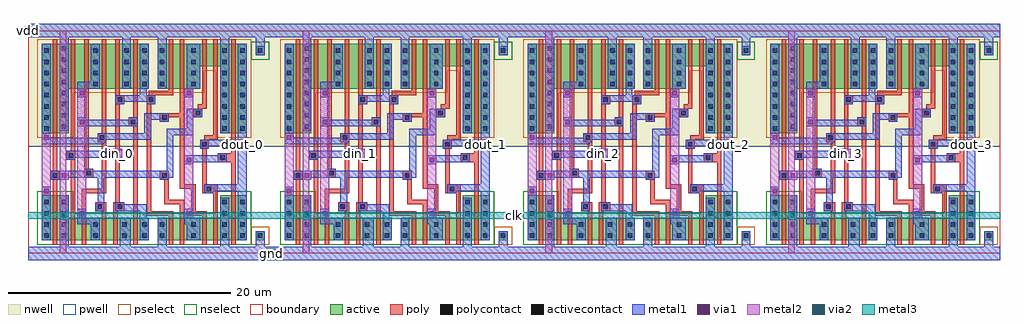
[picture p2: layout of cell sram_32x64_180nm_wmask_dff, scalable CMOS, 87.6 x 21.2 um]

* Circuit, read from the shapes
.subckt sram_32x64_180nm_wmask_dff clk din_0 din_1 din_2 din_3 dout_0 dout_1 dout_2 dout_3 gnd vdd
M1 gnd clk n1 gnd nfet w=4u l=0.4u
M2 n2 din_0 gnd gnd nfet w=2u l=0.4u
M3 n3 n1 n2 gnd nfet w=2u l=0.4u
M4 n4 clk n3 gnd nfet w=2u l=0.4u
M5 gnd n5 n4 gnd nfet w=2u l=0.4u
M6 n5 n3 gnd gnd nfet w=2u l=0.4u
M7 n6 n5 gnd gnd nfet w=2u l=0.4u
M8 n7 clk n6 gnd nfet w=2u l=0.4u
M9 n8 n1 n7 gnd nfet w=2u l=0.4u
M10 gnd dout_0 n8 gnd nfet w=2u l=0.4u
M11 dout_0 n7 gnd gnd nfet w=4u l=0.4u
M12 gnd clk n9 gnd nfet w=4u l=0.4u
M13 n10 din_1 gnd gnd nfet w=2u l=0.4u
M14 n11 n9 n10 gnd nfet w=2u l=0.4u
M15 n12 clk n11 gnd nfet w=2u l=0.4u
M16 gnd n13 n12 gnd nfet w=2u l=0.4u
M17 n13 n11 gnd gnd nfet w=2u l=0.4u
M18 n14 n13 gnd gnd nfet w=2u l=0.4u
M19 n15 clk n14 gnd nfet w=2u l=0.4u
M20 n16 n9 n15 gnd nfet w=2u l=0.4u
M21 gnd dout_1 n16 gnd nfet w=2u l=0.4u
M22 dout_1 n15 gnd gnd nfet w=4u l=0.4u
M23 gnd clk n17 gnd nfet w=4u l=0.4u
M24 n18 din_2 gnd gnd nfet w=2u l=0.4u
M25 n19 n17 n18 gnd nfet w=2u l=0.4u
M26 n20 clk n19 gnd nfet w=2u l=0.4u
M27 gnd n21 n20 gnd nfet w=2u l=0.4u
M28 n21 n19 gnd gnd nfet w=2u l=0.4u
M29 n22 n21 gnd gnd nfet w=2u l=0.4u
M30 n23 clk n22 gnd nfet w=2u l=0.4u
M31 n24 n17 n23 gnd nfet w=2u l=0.4u
M32 gnd dout_2 n24 gnd nfet w=2u l=0.4u
M33 dout_2 n23 gnd gnd nfet w=4u l=0.4u
M34 gnd clk n25 gnd nfet w=4u l=0.4u
M35 n26 din_3 gnd gnd nfet w=2u l=0.4u
M36 n27 n25 n26 gnd nfet w=2u l=0.4u
M37 n28 clk n27 gnd nfet w=2u l=0.4u
M38 gnd n29 n28 gnd nfet w=2u l=0.4u
M39 n29 n27 gnd gnd nfet w=2u l=0.4u
M40 n30 n29 gnd gnd nfet w=2u l=0.4u
M41 n31 clk n30 gnd nfet w=2u l=0.4u
M42 n32 n25 n31 gnd nfet w=2u l=0.4u
M43 gnd dout_3 n32 gnd nfet w=2u l=0.4u
M44 dout_3 n31 gnd gnd nfet w=4u l=0.4u
M45 vdd clk n1 vdd pfet w=8u l=0.4u
M46 n33 din_0 vdd vdd pfet w=4u l=0.4u
M47 n3 clk n33 vdd pfet w=4u l=0.4u
M48 n34 n1 n3 vdd pfet w=4u l=0.4u
M49 vdd n5 n34 vdd pfet w=4u l=0.4u
M50 n5 n3 vdd vdd pfet w=4u l=0.4u
M51 n35 n5 vdd vdd pfet w=4u l=0.4u
M52 n7 n1 n35 vdd pfet w=4u l=0.4u
M53 n36 clk n7 vdd pfet w=2u l=0.4u
M54 vdd dout_0 n36 vdd pfet w=2u l=0.4u
M55 dout_0 n7 vdd vdd pfet w=8u l=0.4u
M56 vdd clk n9 vdd pfet w=8u l=0.4u
M57 n37 din_1 vdd vdd pfet w=4u l=0.4u
M58 n11 clk n37 vdd pfet w=4u l=0.4u
M59 n38 n9 n11 vdd pfet w=4u l=0.4u
M60 vdd n13 n38 vdd pfet w=4u l=0.4u
M61 n13 n11 vdd vdd pfet w=4u l=0.4u
M62 n39 n13 vdd vdd pfet w=4u l=0.4u
M63 n15 n9 n39 vdd pfet w=4u l=0.4u
M64 n40 clk n15 vdd pfet w=2u l=0.4u
M65 vdd dout_1 n40 vdd pfet w=2u l=0.4u
M66 dout_1 n15 vdd vdd pfet w=8u l=0.4u
M67 vdd clk n17 vdd pfet w=8u l=0.4u
M68 n41 din_2 vdd vdd pfet w=4u l=0.4u
M69 n19 clk n41 vdd pfet w=4u l=0.4u
M70 n42 n17 n19 vdd pfet w=4u l=0.4u
M71 vdd n21 n42 vdd pfet w=4u l=0.4u
M72 n21 n19 vdd vdd pfet w=4u l=0.4u
M73 n43 n21 vdd vdd pfet w=4u l=0.4u
M74 n23 n17 n43 vdd pfet w=4u l=0.4u
M75 n44 clk n23 vdd pfet w=2u l=0.4u
M76 vdd dout_2 n44 vdd pfet w=2u l=0.4u
M77 dout_2 n23 vdd vdd pfet w=8u l=0.4u
M78 vdd clk n25 vdd pfet w=8u l=0.4u
M79 n45 din_3 vdd vdd pfet w=4u l=0.4u
M80 n27 clk n45 vdd pfet w=4u l=0.4u
M81 n46 n25 n27 vdd pfet w=4u l=0.4u
M82 vdd n29 n46 vdd pfet w=4u l=0.4u
M83 n29 n27 vdd vdd pfet w=4u l=0.4u
M84 n47 n29 vdd vdd pfet w=4u l=0.4u
M85 n31 n25 n47 vdd pfet w=4u l=0.4u
M86 n48 clk n31 vdd pfet w=2u l=0.4u
M87 vdd dout_3 n48 vdd pfet w=2u l=0.4u
M88 dout_3 n31 vdd vdd pfet w=8u l=0.4u
.ends

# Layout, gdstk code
import gdstk
lib = gdstk.Library(unit=1e-6, precision=1e-09)
def R(c, l, rs):  # rectangles x0, y0, x1, y1
    for r in rs: c.add(gdstk.rectangle(r[:2], r[2:], *l))
def A(c, l, x, y, w, h, nx, ny, dx, dy):  # array of equal rectangles
    R(c, l, [(x+i*dx, y+j*dy, x+i*dx+w, y+j*dy+h) for i in range(nx) for j in range(ny)])
pwell = (41, 0)
nwell = (42, 0)
active = (43, 0)
pselect = (44, 0)
nselect = (45, 0)
poly = (46, 0)
polycontact = (47, 0)
activecontact = (48, 0)
metal1 = (49, 0)
via1 = (50, 0)
metal2 = (51, 0)
via2 = (61, 0)
metal3 = (62, 0)
boundary = (63, 0)

dff = lib.new_cell('dff')
R(dff, pwell, [(0,-0.6,21.8,9.6)])
R(dff, nwell, [(0,9.6,21.8,20.6)])
R(dff, active, [(1.2,1.2,10.8,3.2), (11.6,1.2,19.6,3.2), (20.4,1.2,21.2,2), (1.2,3.2,3.6,5.2), (17.2,3.2,19.6,5.2), (1.2,10.8,3.6,14.8), (17.2,10.8,19.6,16.8), (1.2,14.8,10.8,18.8), (11.6,14.8,15.4,16.8), (11.6,16.8,19.6,18.8), (20.4,17.8,21.2,18.6)])
R(dff, pselect, [(20,0.8,21.6,2.4), (0.8,10.4,4,14.4), (16.8,10.4,20,16.4), (0.8,14.4,15.8,16.4), (0.8,16.4,20,19.2)])
R(dff, nselect, [(0.8,0.8,20,3.6), (0.8,3.6,4,5.6), (16.8,3.6,20,5.6), (20,17.4,21.6,19)])
R(dff, poly, [(2.2,0.8,2.6,6.6), (3.8,0.8,4.2,8.4), (4.8,0.8,5.2,5.4), (6.6,0.8,7,3.8), (7.6,0.8,8,3.8), (9.4,0.8,9.8,11.4), (12.6,0.8,13,3.4), (13.6,0.8,14,4.4), (15.6,0.8,16,3.4), (16.6,0.8,17,5.4), (18.2,0.8,18.6,8.2), (10.6,3.4,13,3.8), (14.6,3.4,16,3.8), (6,3.8,7,4.6), (7.6,3.8,8.6,4.6), (10.6,3.8,11,13.4), (14.6,3.8,15,5.8), (12.2,4.4,14,4.8), (7.8,4.6,8.2,13.4), (12.2,4.8,12.6,6.6), (4.8,5.4,7,5.8), (15.6,5.4,17,6.2), (6.6,5.8,7,10), (13.6,5.8,15,6.2), (13.6,6.2,14,12.2), (15.6,6.2,16,9.4), (2,6.6,2.8,7.4), (11.8,6.6,12.6,7.4), (5,6.8,5.8,7.6), (2.2,7.4,2.6,19.2), (5,7.6,5.4,19.2), (17,8.2,18.6,9), (3.4,8.4,4.2,9.2), (18.2,9,18.6,19.2), (3.8,9.2,4.2,19.2), (15.4,9.4,16.2,10.2), (6.2,10,7,10.8), (15.8,10.2,17,10.6), (16.6,10.6,17,19.2), (6.6,10.8,7,19.2), (9,11.4,9.8,12.2), (11.8,11.8,12.6,12.2), (9.4,12.2,9.8,19.2), (11.8,12.2,14,12.6), (14.8,12.2,15.6,13), (13.6,12.6,14,19.2), (15.2,13,16,13.4), (7.8,13.4,8.6,14.2), (10.6,13.4,11.4,14.2), (15.6,13.4,16,19.2), (7.8,14.2,8.2,19.2), (10.8,14.2,13,14.6), (12.6,14.6,13,19.2)])
R(dff, polycontact, [(6.2,4,6.6,4.4), (8,4,8.4,4.4), (16,5.6,16.4,6), (2.2,6.8,2.6,7.2), (12,6.8,12.4,7.2), (5.2,7,5.6,7.4), (17.2,8.4,17.6,8.8), (3.6,8.6,4,9), (15.6,9.6,16,10), (6.4,10.2,6.8,10.6), (9.2,11.6,9.6,12), (12,12,12.4,12.4), (15,12.4,15.4,12.8), (8,13.6,8.4,14), (10.8,13.6,11.2,14)])
A(dff, activecontact, 1.4, 1.4, 0.4, 0.4, 1, 4, 0, 1)
A(dff, activecontact, 3, 1.4, 0.4, 0.4, 1, 4, 0, 1)
A(dff, activecontact, 11.8, 1.4, 0.4, 0.4, 3, 2, 2.8, 1)
A(dff, activecontact, 19, 1.4, 0.4, 0.4, 1, 4, 0, 1)
A(dff, activecontact, 1.4, 11, 0.4, 0.4, 1, 8, 0, 1)
A(dff, activecontact, 17.4, 11, 0.4, 0.4, 1, 7, 0, 1)
A(dff, activecontact, 19, 11, 0.4, 0.4, 1, 7, 0, 1)
A(dff, activecontact, 3, 11.2, 0.4, 0.4, 1, 8, 0, 1)
A(dff, activecontact, 5.8, 15, 0.4, 0.4, 1, 4, 0, 1)
A(dff, activecontact, 8.6, 15, 0.4, 0.4, 3, 4, 1.6, 1)
A(dff, activecontact, 14.6, 15, 0.4, 0.4, 1, 4, 0, 1)
A(dff, activecontact, 17.4, 18, 0.4, 0.4, 3, 1, 1.6, 0)
R(dff, activecontact, [(5.8,1.4,6.2,1.8), (8.4,1.4,8.8,1.8), (10.2,1.4,10.6,1.8), (20.6,1.4,21,1.8), (5.8,2.4,6.2,2.8), (8.4,2.4,8.8,2.8), (10.2,2.4,10.6,2.8), (17.4,3.4,17.8,3.8), (17.4,4.4,17.8,4.8)])
R(dff, metal1, [(0,-0.6,21.8,0.6), (0,-0.6,21.8,0.6), (2.8,0.6,3.6,5.2), (8.2,0.6,9.2,3.2), (11.6,0.6,12.4,3.2), (17.2,0.6,18,5), (20.4,0.6,21.2,2), (1.2,1.2,2,6), (5.6,1.2,6.4,2.6), (10,1.2,10.8,3.2), (14.2,1.2,15.4,2.6), (18.8,1.2,19.6,5.6), (4.4,2.6,6.4,3.2), (14,2.6,15.4,3.2), (4.4,3.2,5.2,4), (10,3.2,10.6,3.8), (14,3.2,14.8,4), (6,3.8,6.8,4.6), (7.8,3.8,10.6,4.4), (7.8,4.4,8.6,4.6), (6.2,4.6,6.8,6.8), (15.8,5.4,16.6,5.6), (15.8,5.6,19.6,6.2), (18.8,6.2,19.6,9.6), (2,6.6,3.6,6.8), (11.8,6.6,12.6,6.8), (2,6.8,13,7.4), (5,7.4,5.8,7.6), (12.4,7.4,13,10.6), (14,8,14.8,8.2), (14,8.2,17.8,8.8), (3.4,8.4,4.2,8.6), (3.4,8.6,8.4,9.2), (17,8.8,17.8,9), (7.6,9.2,8.4,9.4), (15.4,9.4,16.2,9.6), (15.4,9.6,19.6,10.2), (1.2,9.8,6.8,10), (1.2,10,7,10.2), (1.2,10.2,11,10.4), (18.8,10.2,19.6,18.8), (1.2,10.4,2,18.8), (6.2,10.4,11,10.8), (12.4,10.6,14.8,11.2), (10.4,10.8,11,12), (17.2,10.8,18,19.4), (2.8,11,3.6,19.4), (14.2,11.2,14.8,12.2), (4.4,11.4,9.8,12), (11.8,11.8,12.6,12), (4.4,12,5.2,12.2), (9,12,9.8,12.2), (10.4,12,12.6,12.6), (14.2,12.2,15.6,13), (7.8,13.4,8.6,13.6), (10.6,13.4,11.4,13.6), (7.8,13.6,11.4,14.2), (4.4,14,5.2,14.8), (14,14,14.8,14.8), (10,14.2,10.6,14.8), (4.4,14.8,6.4,15.4), (8.4,14.8,9.2,19.4), (10,14.8,10.8,18.8), (11.6,14.8,12.4,19.4), (14.2,14.8,15.4,18.8), (5.6,15.4,6.4,18.8), (20.4,17.8,21.2,19.4), (0,19.4,21.8,20.6), (0,19.4,21.8,20.6)])
R(dff, via1, [(4.6,3.4,5,3.8), (14.2,3.4,14.6,3.8), (1.4,5.4,1.8,5.8), (3,6.8,3.4,7.2), (14.2,8.2,14.6,8.6), (7.8,8.8,8.2,9.2), (19,9.6,19.4,10), (1.4,10.2,1.8,10.6), (4.6,11.6,5,12), (4.6,14.2,5,14.6), (14.2,14.2,14.6,14.6)])
R(dff, metal2, [(4.4,3.2,5.2,14.8), (14,3.2,14.8,14.8), (1.2,5.2,2,10.8), (2.8,6.6,3.6,7.4), (2.8,6.6,3.6,7.4), (7.6,8.6,8.4,9.4), (7.6,8.6,8.4,9.4), (18.8,9.4,19.6,10.2), (18.8,9.4,19.6,10.2)])
R(dff, boundary, [(0,0,21.8,20)])
dff.add(gdstk.Label('clk', (3,6.8), layer=51, texttype=0))
dff.add(gdstk.Label('D', (8,9), layer=51, texttype=0))
dff.add(gdstk.Label('Q', (19.2,9.8), layer=51, texttype=0))
dff.add(gdstk.Label('vdd', (6.4,19.6), layer=49, texttype=0))
dff.add(gdstk.Label('gnd', (8.8,0.2), layer=49, texttype=0))
dff.add(gdstk.Label('D', (8,9), layer=51, texttype=0))
dff.add(gdstk.Label('Q', (19.2,9.8), layer=51, texttype=0))
dff.add(gdstk.Label('clk', (3.2,7), layer=51, texttype=0))
dff.add(gdstk.Label('vdd', (10.9,20), layer=49, texttype=0))
dff.add(gdstk.Label('gnd', (10.9,0), layer=49, texttype=0))

sram_32x64_180nm_contact = lib.new_cell('sram_32x64_180nm_contact_18')
R(sram_32x64_180nm_contact, metal1, [(0,0,0.8,0.8)])
R(sram_32x64_180nm_contact, via1, [(0.2,0.2,0.6,0.6)])
R(sram_32x64_180nm_contact, metal2, [(0,0,0.8,0.8)])
R(sram_32x64_180nm_contact, boundary, [(0,0,0.8,0.8)])

c_sram_32x64_180nm_contact = lib.new_cell('sram_32x64_180nm_contact_19')
R(c_sram_32x64_180nm_contact, metal2, [(0,0,0.8,0.8)])
R(c_sram_32x64_180nm_contact, via2, [(0.2,0.2,0.6,0.6)])
R(c_sram_32x64_180nm_contact, metal3, [(0,0,0.8,0.8)])
R(c_sram_32x64_180nm_contact, boundary, [(0,0,0.8,0.8)])

sram_32x64_180nm_wmask_d = lib.new_cell('sram_32x64_180nm_wmask_dff')
A(sram_32x64_180nm_wmask_d, metal2, 2.8, 0, 0.6, 20, 4, 1, 21.8, 0)
A(sram_32x64_180nm_wmask_d, metal2, 7.6, 8.6, 0.8, 0.8, 4, 1, 21.8, 0)
A(sram_32x64_180nm_wmask_d, metal2, 18.8, 9.4, 0.8, 0.8, 4, 1, 21.8, 0)
R(sram_32x64_180nm_wmask_d, metal3, [(21.4,-0.4,22.2,0.4), (0,3.1,87.2,3.7), (-0.4,19.6,0.4,20.4)])
R(sram_32x64_180nm_wmask_d, boundary, [(0,0,87.2,20)])
sram_32x64_180nm_wmask_d.add(gdstk.Reference(dff, (0,0)))
sram_32x64_180nm_wmask_d.add(gdstk.Reference(dff, (21.8,0)))
sram_32x64_180nm_wmask_d.add(gdstk.Reference(dff, (43.6,0)))
sram_32x64_180nm_wmask_d.add(gdstk.Reference(dff, (65.4,0)))
sram_32x64_180nm_wmask_d.add(gdstk.Reference(sram_32x64_180nm_contact, (-0.4,19.6)))
sram_32x64_180nm_wmask_d.add(gdstk.Reference(c_sram_32x64_180nm_contact, (-0.4,19.6)))
sram_32x64_180nm_wmask_d.add(gdstk.Reference(sram_32x64_180nm_contact, (21.4,-0.4)))
sram_32x64_180nm_wmask_d.add(gdstk.Reference(c_sram_32x64_180nm_contact, (21.4,-0.4)))
sram_32x64_180nm_wmask_d.add(gdstk.Reference(c_sram_32x64_180nm_contact, (2.8,3)))
sram_32x64_180nm_wmask_d.add(gdstk.Reference(c_sram_32x64_180nm_contact, (24.6,3)))
sram_32x64_180nm_wmask_d.add(gdstk.Reference(c_sram_32x64_180nm_contact, (46.4,3)))
sram_32x64_180nm_wmask_d.add(gdstk.Reference(c_sram_32x64_180nm_contact, (68.2,3)))
sram_32x64_180nm_wmask_d.add(gdstk.Label('vdd', (0,20), layer=62, texttype=0))
sram_32x64_180nm_wmask_d.add(gdstk.Label('gnd', (21.8,0), layer=62, texttype=0))
sram_32x64_180nm_wmask_d.add(gdstk.Label('din_0', (8,9), layer=51, texttype=0))
sram_32x64_180nm_wmask_d.add(gdstk.Label('dout_0', (19.2,9.8), layer=51, texttype=0))
sram_32x64_180nm_wmask_d.add(gdstk.Label('din_1', (29.8,9), layer=51, texttype=0))
sram_32x64_180nm_wmask_d.add(gdstk.Label('dout_1', (41,9.8), layer=51, texttype=0))
sram_32x64_180nm_wmask_d.add(gdstk.Label('din_2', (51.6,9), layer=51, texttype=0))
sram_32x64_180nm_wmask_d.add(gdstk.Label('dout_2', (62.8,9.8), layer=51, texttype=0))
sram_32x64_180nm_wmask_d.add(gdstk.Label('din_3', (73.4,9), layer=51, texttype=0))
sram_32x64_180nm_wmask_d.add(gdstk.Label('dout_3', (84.6,9.8), layer=51, texttype=0))
sram_32x64_180nm_wmask_d.add(gdstk.Label('clk', (43.6,3.4), layer=62, texttype=0))

lib.write_gds('sram_32x64_180nm_wmask_dff.gds')
